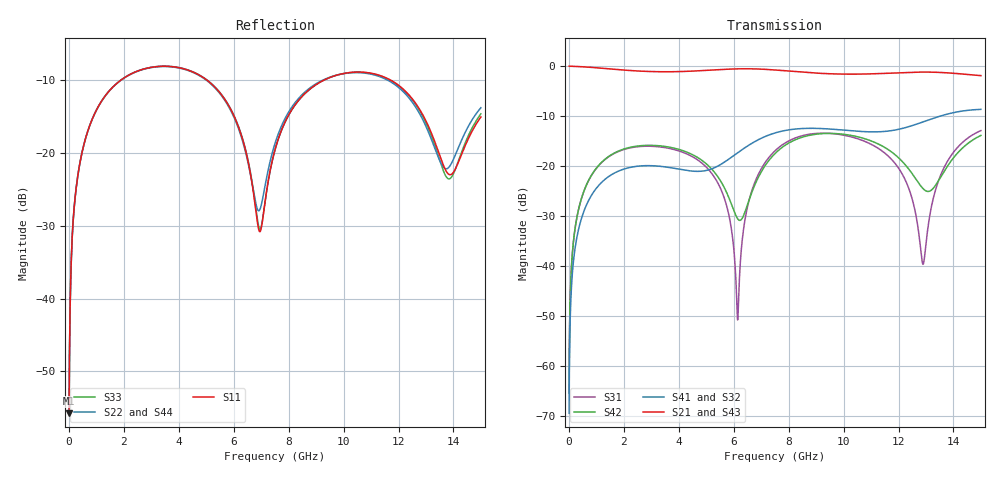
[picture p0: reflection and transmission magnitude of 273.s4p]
! Created with skrf 1.8.0 (http://scikit-rf.org).
# GHz S RI R 50.0
!freq ReS11 ImS11 ReS12 ImS12 ReS13 ImS13
! ReS14 ImS14
! ReS21 ImS21 ReS22 ImS22 ReS23 ImS23
! ReS24 ImS24
! ReS31 ImS31 ReS32 ImS32 ReS33 ImS33
! ReS34 ImS34
! ReS41 ImS41 ReS42 ImS42 ReS43 ImS43
! ReS44 ImS44
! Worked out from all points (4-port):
!   2499 points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, 5 MHz to 15 GHz, reference 50 ohm
!   strongest paths, dB at 5 MHz, 3.476 GHz, 7.19 GHz, 11.1 GHz, 15 GHz:
!     S21: 0.0, -1.1, -0.7, -1.5, -1.9
!     S43: 0.0, -1.1, -0.7, -1.5, -1.9
!     S41: -69.4, -20.1, -14.0, -13.2, -8.6
!     S32: -69.5, -20.2, -14.0, -13.3, -8.7
!     S42: -65.4, -16.1, -19.5, -15.2, -13.9
!     S31: -65.4, -16.3, -18.9, -15.9, -12.9
!   lowest |S11| = -55.8 dB at 5 MHz (marker M1), VSWR 1.00, Z = 50.1 + j0.0986 ohm
!   |S11| at or under -10 dB: start of sweep to 1.894 GHz; 5.018 GHz to 9.292 GHz (4.274 GHz wide, 59.7 % of centre); 11.71 GHz to end of sweep
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0.005  0.0013 0.000984  0.9987 -0.00253  6.49e-05 0.000534  -6.3e-05 -0.000331
       0.9987 -0.00253  0.0013 0.000984  -6.3e-05 -0.000331  6.49e-05 0.000534
       6.49e-05 0.000534  -6.3e-05 -0.000331  0.0013 0.000984  0.9987 -0.00253
       -6.3e-05 -0.000331  6.49e-05 0.000534  0.9987 -0.00253  0.0013 0.000984
0.3626511  0.0203 0.0754  0.9722 -0.1827  0.00946 0.0371  -0.00798 -0.0228
           0.9722 -0.1827  0.0202 0.0754  -0.00797 -0.0228  0.00981 0.037
           0.00946 0.0371  -0.00797 -0.0228  0.0203 0.0754  0.9722 -0.1827
           -0.00798 -0.0228  0.00981 0.037  0.9722 -0.1827  0.0202 0.0754
1.875782  0.2558 0.1827  0.5796 -0.7123  0.1239 0.0709  -0.0901 -0.0111
          0.5796 -0.7123  0.2543 0.1836  -0.09 -0.0113  0.1288 0.0647
          0.1239 0.0709  -0.09 -0.0113  0.256 0.1826  0.5796 -0.7123
          -0.0901 -0.0111  0.1288 0.0647  0.5796 -0.7123  0.2542 0.1837
6.140058  0.0762 -0.1364  -0.8475 -0.4037  0.00282 0.000648  -0.0529 0.1251
          -0.8475 -0.4037  0.0839 -0.1275  -0.0557 0.1237  -0.0257 -0.0152
          0.00282 0.000648  -0.0557 0.1237  0.0771 -0.1375  -0.8472 -0.4038
          -0.0529 0.1251  -0.0257 -0.0152  -0.8472 -0.4038  0.0843 -0.1288
6.884118  0.0281 -0.0141  -0.9325 -0.0772  0.0138 0.0802  -0.00935 0.1827
          -0.9325 -0.0772  0.0396 -0.00724  -0.0131 0.1824  -0.014 0.0748
          0.0138 0.0802  -0.0131 0.1824  0.0291 -0.0155  -0.9324 -0.0775
          -0.00935 0.1827  -0.014 0.0748  -0.9324 -0.0775  0.039 -0.00926
12.89287  0.1238 -0.1323  0.7091 0.5067  -0.00996 -0.00303  0.1479 -0.2341
          0.7091 0.5067  0.1206 -0.1164  0.1597 -0.2262  -0.0483 -0.0348
          -0.00996 -0.00303  0.1597 -0.2262  0.1168 -0.1321  0.7115 0.5045
          0.1479 -0.2341  -0.0483 -0.0348  0.7115 0.5045  0.1223 -0.1097
15  0.1495 0.0933  0.754 -0.2766  0.1669 0.1531  -0.1833 -0.3207
    0.754 -0.2766  0.1761 0.1034  -0.1683 -0.3269  0.1306 0.1549
    0.1669 0.1531  -0.1683 -0.3269  0.1552 0.1012  0.7514 -0.2801
    -0.1833 -0.3207  0.1306 0.1549  0.7514 -0.2801  0.177 0.1056
